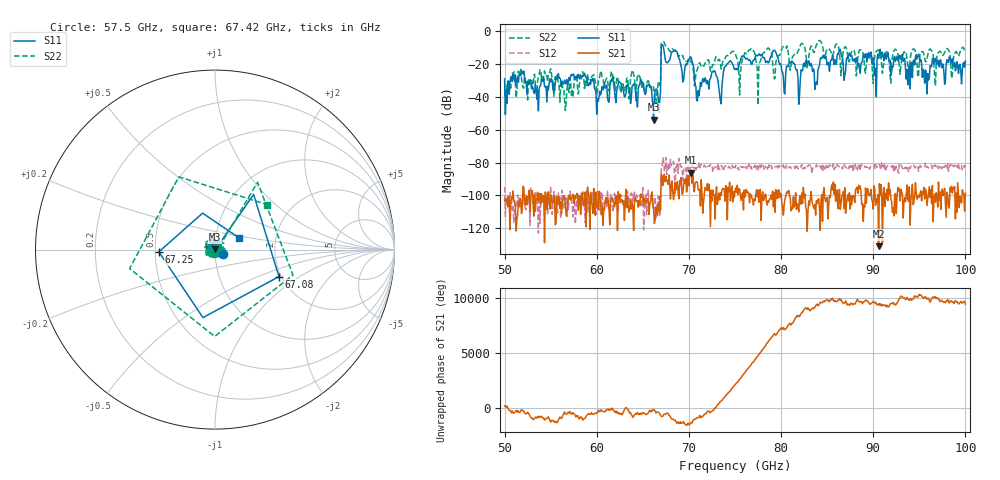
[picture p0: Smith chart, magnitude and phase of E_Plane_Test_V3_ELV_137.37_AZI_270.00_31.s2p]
! 11/26/2026 4:20:04 PM
! C:\ANRITSUVNA\TEMP\TEMP.S2P
! CHANNEL.1
! TR.MEASUREMENT
! RAW.DATA
# HZ S RI R 50.0
! FREQ.HZ  S11RE  S11IM  S21RE  S21IM  S12RE  S12IM  S22RE  S22IM
!; PortSelection: Port_12
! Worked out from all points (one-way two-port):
!   601 points, 50 GHz to 100 GHz, reference 50 ohm
!   highest |S21| = -86.08 dB at 70.25 GHz (marker M1); lowest = -131.0 dB at 90.58 GHz (marker M2)
!   lowest |S11| = -53.9 dB at 66.17 GHz (marker M3), VSWR 1.00, Z = 50.1 + j0.146 ohm
!   |S11| at or under -10 dB: start of sweep to 67 GHz; 67.25 GHz to end of sweep
!   |S22| runs from -48.2 to -5.6 dB; largest |S21 - S12| = 0.00018
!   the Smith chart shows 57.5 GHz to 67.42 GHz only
!   S11 on the Smith chart (normalised r, x): 57.5 GHz: 1.09, -0.05; 67.08 GHz: 1.95, -0.69; 67.25 GHz: 0.52, -0.01; 67.42 GHz: 1.29, +0.18
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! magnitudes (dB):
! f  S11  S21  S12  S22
! 50 GHz  -28.9  -102.8  -94.9  -35.6
! 51.67 GHz  -26.3  -101.8  -103.3  -23.2
! 57.5 GHz  -26.1  -105.0  -107.6  -34.6
! 58.42 GHz  -27.1  -98.7  -105.8  -24.7
! 60.17 GHz  -42.7  -108.7  -102.7  -30.4
! 66.17 GHz  -53.9  -107.8  -110.3  -34.0
! 66.67 GHz  -41.5  -105.3  -100.6  -31.6
! 67.08 GHz  -8.2  -89.1  -82.2  -6.8
! 67.25 GHz  -10.1  -87.6  -78.6  -6.2
! 67.42 GHz  -16.6  -91.7  -84.6  -8.3
! 70.25 GHz  -15.9  -86.1  -85.2  -18.8
! 70.92 GHz  -42.5  -91.9  -84.0  -23.2
! 75 GHz  -23.3  -97.2  -83.3  -13.0
! 79.25 GHz  -11.5  -98.3  -82.5  -28.9
! 80.25 GHz  -27.8  -112.0  -81.5  -9.3
! 83.42 GHz  -24.5  -105.4  -83.7  -10.8
! 90.58 GHz  -16.5  -131.0  -82.0  -11.6
! 91.67 GHz  -16.7  -92.4  -81.8  -15.2
! 93.75 GHz  -32.6  -102.2  -84.1  -21.3
! 94.83 GHz  -15.0  -100.1  -81.9  -27.9
! 95.83 GHz  -38.1  -106.2  -82.1  -16.5
! 100 GHz  -18.0  -98.7  -81.5  -12.6
